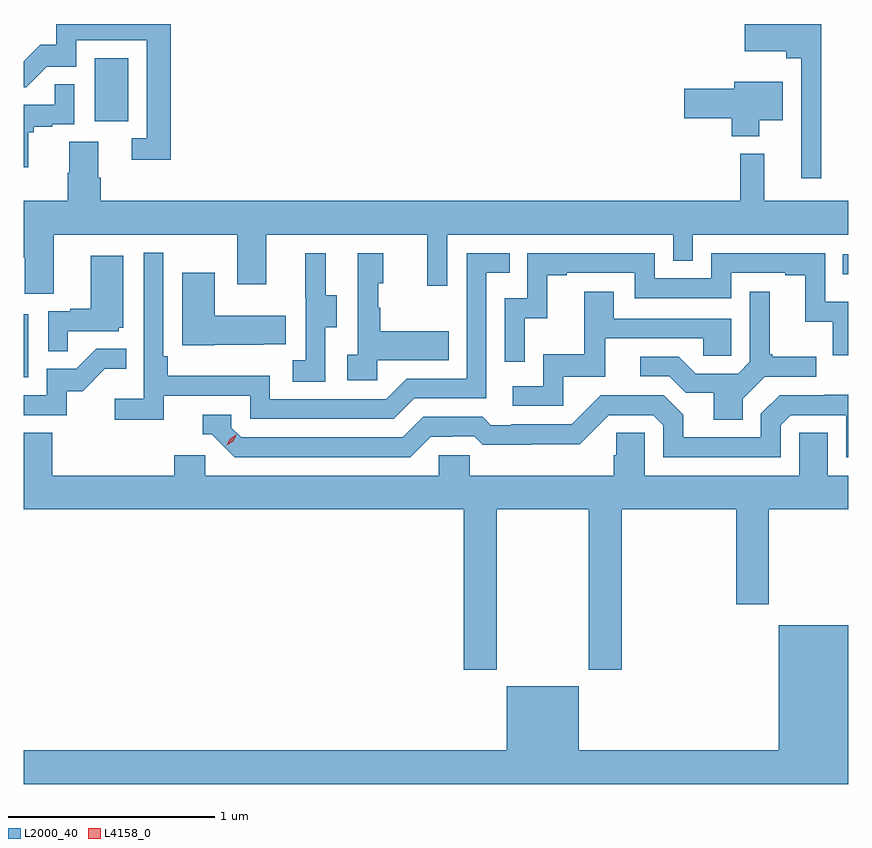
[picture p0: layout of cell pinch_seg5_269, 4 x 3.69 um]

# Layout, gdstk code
import gdstk
lib = gdstk.Library(unit=1e-6, precision=1e-09)
def R(c, l, rs):  # rectangles x0, y0, x1, y1
    for r in rs: c.add(gdstk.rectangle(r[:2], r[2:], *l))
def P(c, l, *ps):  # polygons
    for p in ps: c.add(gdstk.Polygon(p, *l))
L2000_40 = (2000, 40)
L4158_0 = (4158, 0)

pinch_seg5_269 = lib.new_cell('pinch_seg5_269')
R(pinch_seg5_269, L2000_40, [(891.846,896.028,891.868,896.335), (895.819,896.528,895.846,896.625), (892.19,897.27,892.354,897.577)])
P(pinch_seg5_269, L2000_40, [(895.714,897.742),(895.344,897.742),(895.344,897.611),(895.544,897.611),(895.544,897.575),(895.617,897.575),(895.617,896.994),(895.714,896.994)],
  [(892.559,897.742),(892.003,897.742),(892.003,897.642),(891.926,897.642),(891.846,897.562),(891.846,897.436),(891.859,897.436),(891.957,897.534),(892.101,897.534),(892.101,897.663),(892.443,897.663),(892.443,897.189),(892.371,897.189),(892.371,897.084),(892.559,897.084)],
  [(895.414,897.275),(895.528,897.275),(895.528,897.463),(895.292,897.463),(895.292,897.428),(895.05,897.428),(895.05,897.286),(895.28,897.286),(895.28,897.197),(895.414,897.197)],
  [(891.868,897.216),(891.894,897.216),(891.894,897.243),(891.986,897.243),(891.986,897.255),(892.092,897.255),(892.092,897.449),(891.997,897.449),(891.997,897.351),(891.846,897.351),(891.846,897.048),(891.868,897.048)],
  [(892.067,897.17),(892.067,897.021),(892.06,897.021),(892.06,896.884),(891.846,896.884),(891.846,896.608),(891.851,896.608),(891.851,896.434),(891.991,896.434),(891.991,896.72),(892.883,896.72),(892.883,896.481),(893.023,896.481),(893.023,896.72),(893.804,896.72),(893.804,896.472),(893.901,896.472),(893.901,896.72),(894.996,896.72),(894.996,896.593),(895.092,896.593),(895.092,896.72),(895.846,896.72),(895.846,896.884),(895.439,896.884),(895.439,897.112),(895.321,897.112),(895.321,896.884),(892.22,896.884),(892.22,896.996),(892.207,896.996),(892.207,897.17)],
  [(892.526,895.938),(892.944,895.938),(892.944,895.827),(893.641,895.827),(893.74,895.926),(894.09,895.926),(894.09,896.535),(894.203,896.535),(894.203,896.631),(893.994,896.631),(893.994,896.022),(893.703,896.022),(893.604,895.923),(893.04,895.923),(893.04,896.035),(892.544,896.035),(892.544,896.131),(892.524,896.131),(892.524,896.632),(892.428,896.632),(892.428,895.924),(892.287,895.924),(892.287,895.822),(892.526,895.822)],
  [(894.276,896.315),(894.386,896.315),(894.386,896.523),(894.481,896.523),(894.481,896.535),(894.81,896.535),(894.81,896.412),(895.278,896.412),(895.278,896.535),(895.541,896.535),(895.541,896.523),(895.637,896.523),(895.637,896.297),(895.77,896.297),(895.77,896.136),(895.846,896.136),(895.846,896.395),(895.734,896.395),(895.734,896.631),(895.182,896.631),(895.182,896.508),(894.906,896.508),(894.906,896.631),(894.288,896.631),(894.288,896.412),(894.18,896.412),(894.18,896.103),(894.276,896.103)],
  [(893.562,896.111),(893.909,896.111),(893.909,896.251),(893.575,896.251),(893.575,896.366),(893.565,896.366),(893.565,896.484),(893.59,896.484),(893.59,896.629),(893.466,896.629),(893.466,896.138),(893.415,896.138),(893.415,896.013),(893.562,896.013)],
  [(893.31,896.272),(893.365,896.272),(893.365,896.427),(893.311,896.427),(893.311,896.629),(893.213,896.629),(893.213,896.415),(893.214,896.415),(893.214,896.111),(893.151,896.111),(893.151,896.008),(893.31,896.008)],
  [(892.061,896.253),(892.308,896.253),(892.308,896.268),(892.33,896.268),(892.33,896.617),(892.172,896.617),(892.172,896.362),(892.073,896.362),(892.073,896.349),(891.966,896.349),(891.966,896.155),(892.061,896.155)],
  [(892.77,896.186),(893.009,896.186),(893.009,896.189),(893.117,896.189),(893.117,896.326),(892.774,896.326),(892.774,896.536),(892.616,896.536),(892.616,896.183),(892.77,896.183)],
  [(894.462,896.031),(894.667,896.031),(894.667,896.217),(895.141,896.217),(895.141,896.133),(895.278,896.133),(895.278,896.313),(894.709,896.313),(894.709,896.443),(894.565,896.443),(894.565,896.14),(894.366,896.14),(894.366,895.986),(894.219,895.986),(894.219,895.89),(894.462,895.89)],
  [(895.333,895.924),(895.44,896.031),(895.69,896.031),(895.69,896.128),(895.477,896.128),(895.477,896.14),(895.465,896.14),(895.465,896.443),(895.368,896.443),(895.368,896.103),(895.311,896.046),(895.105,896.046),(895.024,896.127),(894.837,896.127),(894.837,896.034),(894.978,896.034),(895.058,895.954),(895.193,895.954),(895.193,895.822),(895.333,895.822)],
  [(892.056,895.962),(892.132,895.962),(892.239,896.069),(892.343,896.069),(892.343,896.168),(892.199,896.168),(892.101,896.07),(891.957,896.07),(891.957,895.941),(891.846,895.941),(891.846,895.845),(892.056,895.845)],
  [(893.821,895.74),(893.928,895.74),(893.928,895.743),(894.031,895.743),(894.073,895.701),(894.306,895.701),(894.306,895.703),(894.542,895.703),(894.684,895.845),(894.9,895.845),(894.948,895.797),(894.948,895.641),(895.518,895.641),(895.518,895.797),(895.566,895.845),(895.836,895.845),(895.836,895.641),(895.846,895.641),(895.846,895.943),(895.728,895.943),(895.728,895.941),(895.512,895.941),(895.422,895.851),(895.422,895.737),(895.045,895.737),(895.045,895.847),(894.951,895.941),(894.645,895.941),(894.504,895.8),(894.211,895.8),(894.211,895.797),(894.112,895.797),(894.073,895.836),(893.784,895.836),(893.685,895.737),(892.902,895.737),(892.854,895.785),(892.854,895.848),(892.715,895.848),(892.715,895.752),(892.758,895.752),(892.869,895.641),(893.722,895.641)],
  [(894.141,895.388),(894.586,895.388),(894.586,894.609),(894.746,894.609),(894.746,895.388),(895.301,895.388),(895.301,894.927),(895.461,894.927),(895.461,895.388),(895.846,895.388),(895.846,895.552),(895.747,895.552),(895.747,895.76),(895.608,895.76),(895.608,895.552),(894.858,895.552),(894.858,895.76),(894.721,895.76),(894.721,895.65),(894.707,895.65),(894.707,895.552),(894.009,895.552),(894.009,895.65),(893.859,895.65),(893.859,895.552),(892.728,895.552),(892.728,895.65),(892.577,895.65),(892.577,895.552),(891.986,895.552),(891.986,895.76),(891.846,895.76),(891.846,895.388),(893.981,895.388),(893.981,894.609),(894.141,894.609)],
  [(895.846,894.826),(895.508,894.826),(895.508,894.22),(894.538,894.22),(894.538,894.529),(894.188,894.529),(894.188,894.22),(891.846,894.22),(891.846,894.056),(895.846,894.056)])
P(pinch_seg5_269, L4158_0, [(892.831,895.699),(892.831,895.699),(892.847,895.731),(892.878,895.751),(892.878,895.751),(892.878,895.75),(892.862,895.718),(892.831,895.699)])

lib.write_gds('pinch_seg5_269.gds')
